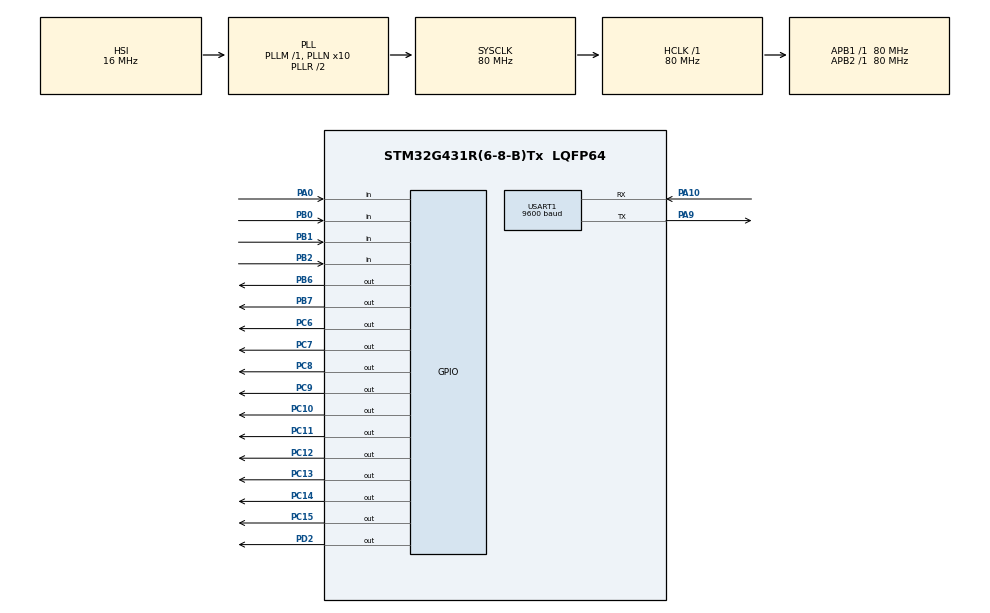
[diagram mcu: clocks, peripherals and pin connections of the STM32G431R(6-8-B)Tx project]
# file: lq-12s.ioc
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Mcu.Family=STM32G4
Mcu.Name=STM32G431R(6-8-B)Tx
Mcu.Package=LQFP64
NVIC.PriorityGroup=NVIC_PRIORITYGROUP_4
NVIC.RTC_Alarm_IRQn=true\:0\:0\:false\:false\:true\:true\:true\:true
NVIC.TIM6_DAC_IRQn=true\:4\:0\:true\:false\:true\:true\:true\:true
PA0.Signal=GPIO_Input
PA10.Mode=Asynchronous
PA10.Signal=USART1_RX
PA13.Mode=Serial_Wire
PA13.Signal=SYS_JTMS-SWDIO
PA14.Mode=Serial_Wire
PA14.Signal=SYS_JTCK-SWCLK
PA9.Mode=Asynchronous
PA9.Signal=USART1_TX
PB0.Signal=GPIO_Input
PB1.Signal=GPIO_Input
PB2.Signal=GPIO_Input
PB6.Signal=GPIO_Output
PB7.Signal=GPIO_Output
PC10.GPIO_ModeDefaultOutputPP=GPIO_MODE_OUTPUT_PP
PC10.GPIO_PuPd=GPIO_PULLUP
PC10.GPIO_Speed=GPIO_SPEED_FREQ_LOW
PC10.PinState=GPIO_PIN_SET
PC10.Signal=GPIO_Output
PC11.GPIO_ModeDefaultOutputPP=GPIO_MODE_OUTPUT_PP
PC11.GPIO_PuPd=GPIO_PULLUP
PC11.GPIO_Speed=GPIO_SPEED_FREQ_LOW
PC11.PinState=GPIO_PIN_SET
PC11.Signal=GPIO_Output
PC12.GPIO_ModeDefaultOutputPP=GPIO_MODE_OUTPUT_PP
PC12.GPIO_PuPd=GPIO_PULLUP
PC12.GPIO_Speed=GPIO_SPEED_FREQ_LOW
PC12.PinState=GPIO_PIN_SET
PC12.Signal=GPIO_Output
PC13.GPIO_ModeDefaultOutputPP=GPIO_MODE_OUTPUT_PP
PC13.GPIO_PuPd=GPIO_PULLUP
PC13.GPIO_Speed=GPIO_SPEED_FREQ_LOW
PC13.PinState=GPIO_PIN_SET
PC13.Signal=GPIO_Output
PC14-OSC32_IN.GPIO_ModeDefaultOutputPP=GPIO_MODE_OUTPUT_PP
PC14-OSC32_IN.GPIO_PuPd=GPIO_PULLUP
PC14-OSC32_IN.GPIO_Speed=GPIO_SPEED_FREQ_LOW
PC14-OSC32_IN.PinState=GPIO_PIN_SET
PC14-OSC32_IN.Signal=GPIO_Output
PC15-OSC32_OUT.GPIO_ModeDefaultOutputPP=GPIO_MODE_OUTPUT_PP
PC15-OSC32_OUT.GPIO_PuPd=GPIO_PULLUP
PC15-OSC32_OUT.GPIO_Speed=GPIO_SPEED_FREQ_LOW
PC15-OSC32_OUT.PinState=GPIO_PIN_SET
PC15-OSC32_OUT.Signal=GPIO_Output
PC6.Signal=GPIO_Output
PC7.Signal=GPIO_Output
PC8.GPIO_ModeDefaultOutputPP=GPIO_MODE_OUTPUT_PP
PC8.GPIO_PuPd=GPIO_PULLUP
PC8.GPIO_Speed=GPIO_SPEED_FREQ_LOW
PC8.PinState=GPIO_PIN_SET
PC8.Signal=GPIO_Output
PC9.GPIO_ModeDefaultOutputPP=GPIO_MODE_OUTPUT_PP
PC9.GPIO_PuPd=GPIO_PULLUP
PC9.GPIO_Speed=GPIO_SPEED_FREQ_LOW
PC9.PinState=GPIO_PIN_SET
PC9.Signal=GPIO_Output
PD2.GPIO_PuPd=GPIO_PULLDOWN
PD2.Signal=GPIO_Output
PF0-OSC_IN.Mode=HSE-External-Oscillator
PF0-OSC_IN.Signal=RCC_OSC_IN
PF1-OSC_OUT.Mode=HSE-External-Oscillator
PF1-OSC_OUT.Signal=RCC_OSC_OUT
ProjectManager.HeapSize=0x200
ProjectManager.StackSize=0x400
ProjectManager.TargetToolchain=MDK-ARM V5
RCC.ADC12Freq_Value=80000000
RCC.AHBFreq_Value=80000000
RCC.APB1Freq_Value=80000000
RCC.APB1TimFreq_Value=80000000
RCC.APB2Freq_Value=80000000
RCC.APB2TimFreq_Value=80000000
RCC.CortexFreq_Value=80000000
RCC.EXTERNAL_CLOCK_VALUE=12288000
RCC.HCLKFreq_Value=80000000
RCC.HSE_VALUE=8000000
RCC.HSI48_VALUE=48000000
RCC.HSI_VALUE=16000000
RCC.LSE_VALUE=32768
RCC.PLLN=10
RCC.SYSCLKFreq_VALUE=80000000
RCC.SYSCLKSource=RCC_SYSCLKSOURCE_PLLCLK
RCC.USBFreq_Value=80000000
RCC.VCOOutputFreq_Value=160000000
RTC.Alarm-Alarm\ A=RTC_ALARM_A
RTC.Hours=11
RTC.Hours_A-Alarm\ A=12
RTC.Minutes=59
RTC.Seconds=50
TIM6.AutoReloadPreload=TIM_AUTORELOAD_PRELOAD_ENABLE
TIM6.PeriodNoDither=1999
TIM6.Prescaler=799
USART1.BaudRate=9600
USART1.VirtualMode-Asynchronous=VM_ASYNC
VP_RTC_VS_RTC_Activate.Mode=RTC_Enabled
VP_RTC_VS_RTC_Alarm_A_Intern.Mode=Alarm A
VP_RTC_VS_RTC_Calendar.Mode=RTC_Calendar
VP_SYS_VS_DBSignals.Mode=DisableDeadBatterySignals
VP_TIM6_VS_ClockSourceINT.Mode=Enable_Timer
board=custom

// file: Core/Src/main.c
/* USER CODE BEGIN Header */
/**
  ******************************************************************************
  * @file           : main.c
  * @brief          : Main program body
  ******************************************************************************
  * @attention
  *
  * Copyright (c) 2023 STMicroelectronics.
  * All rights reserved.
  *
  * This software is licensed under terms that can be found in the LICENSE file
  * in the root directory of this software component.
  * If no LICENSE file comes with this software, it is provided AS-IS.
  *
  ******************************************************************************
  */
/* USER CODE END Header */
#include "main.h"
#include "rtc.h"
#include "tim.h"
#include "usart.h"
#include "gpio.h"

/* USER CODE BEGIN Includes */
#include <stdio.h>
#include <stdarg.h>
#include <stdlib.h>
#include <stdbool.h>
#include <string.h>
#include "lcd.h"
#include "i2c_hal.h"
/* USER CODE END Includes */

/* USER CODE BEGIN PTD */
typedef struct _BtnCtrl {
	uint64_t 	trace;
	bool		actif;
	void 		(*trig)(void);
	void 		(*trigl)(void);
} BtnCtrl;
/* USER CODE END PTD */

/* USER CODE BEGIN PD */
#define LED_MASK 0x07
#define KEY_LP_MASK	0x3FFFFFFFFFFFF
/* USER CODE END PD */

/* USER CODE BEGIN PM */
#ifndef macros

#define lds(x, s) \
	*(ledp + x - 1) = s

#define ldp() \
	HAL_GPIO_WritePin(GPIOC, led << 8, 0); \
	HAL_GPIO_WritePin(GPIOC, ~(led << 8), 1); \
	HAL_GPIO_WritePin(GPIOD, 0x0002, 1); \
	HAL_GPIO_WritePin(GPIOD, 0x0002, 0)

#define dspl(ln ,t) \
	LCD_DisplayStringLine(ln * 24, (uint8_t *)t)

#endif
/* USER CODE END PM */

/* USER CODE BEGIN PV */
#ifndef vars

uint8_t 	led 		= 0x00;
bool		*ledp		= (bool *)&led;
uint8_t		page		= 0;
BtnCtrl		btns[4]; // 1.28s trace max

#endif
/* USER CODE END PV */

void SystemClock_Config(void);
/* USER CODE BEGIN PFP */
#ifndef pfps

void eeWrite(uint8_t addr, void *data, uint8_t size);
void *eeRead(uint8_t addr, uint8_t size);
void render(void);
void dsplf(int ln, char *fmt, ...);
void dsplfc(int ln, uint16_t cb, uint16_t ct, char *fmt, ...);

#endif
/* USER CODE END PFP */

int main(void)
{
  /* USER CODE BEGIN 1 */

	for(register unsigned int i = 0; i < 4; i++) {
		btns[i].trace = 0xFFFFFFFFFFFFFFFF;
		btns[i].actif = false;
	}
	//bind functions...

  /* USER CODE END 1 */

  /* MCU Configuration--------------------------------------------------------*/

  /* Reset of all peripherals, Initializes the Flash interface and the Systick. */
  HAL_Init();

  /* Configure the system clock */
  SystemClock_Config();

  /* Initialize all configured peripherals */
  MX_GPIO_Init();
  MX_RTC_Init();
  MX_TIM6_Init();
  MX_USART1_UART_Init();

  /* Infinite loop */
  while (1)
  {

  }
}

void SystemClock_Config(void)
{
  RCC_OscInitTypeDef RCC_OscInitStruct = {0};
  RCC_ClkInitTypeDef RCC_ClkInitStruct = {0};

  /** Configure the main internal regulator output voltage
  */
  HAL_PWREx_ControlVoltageScaling(PWR_REGULATOR_VOLTAGE_SCALE1);

  /** Initializes the RCC Oscillators according to the specified parameters
  * in the RCC_OscInitTypeDef structure.
  */
  RCC_OscInitStruct.OscillatorType = RCC_OSCILLATORTYPE_HSI|RCC_OSCILLATORTYPE_LSI;
  RCC_OscInitStruct.HSIState = RCC_HSI_ON;
  RCC_OscInitStruct.HSICalibrationValue = RCC_HSICALIBRATION_DEFAULT;
  RCC_OscInitStruct.LSIState = RCC_LSI_ON;
  RCC_OscInitStruct.PLL.PLLState = RCC_PLL_ON;
  RCC_OscInitStruct.PLL.PLLSource = RCC_PLLSOURCE_HSI;
  RCC_OscInitStruct.PLL.PLLM = RCC_PLLM_DIV1;
  RCC_OscInitStruct.PLL.PLLN = 10;
  RCC_OscInitStruct.PLL.PLLP = RCC_PLLP_DIV2;
  RCC_OscInitStruct.PLL.PLLQ = RCC_PLLQ_DIV2;
  RCC_OscInitStruct.PLL.PLLR = RCC_PLLR_DIV2;
  if (HAL_RCC_OscConfig(&RCC_OscInitStruct) != HAL_OK)
  {
    Error_Handler();
  }

  /** Initializes the CPU, AHB and APB buses clocks
  */
  RCC_ClkInitStruct.ClockType = RCC_CLOCKTYPE_HCLK|RCC_CLOCKTYPE_SYSCLK
                              |RCC_CLOCKTYPE_PCLK1|RCC_CLOCKTYPE_PCLK2;
  RCC_ClkInitStruct.SYSCLKSource = RCC_SYSCLKSOURCE_PLLCLK;
  RCC_ClkInitStruct.AHBCLKDivider = RCC_SYSCLK_DIV1;
  RCC_ClkInitStruct.APB1CLKDivider = RCC_HCLK_DIV1;
  RCC_ClkInitStruct.APB2CLKDivider = RCC_HCLK_DIV1;

  if (HAL_RCC_ClockConfig(&RCC_ClkInitStruct, FLASH_LATENCY_2) != HAL_OK)
  {
    Error_Handler();
  }
}

/* USER CODE BEGIN 4 */

void HAL_RTC_AlarmAEventCallback(RTC_HandleTypeDef *hrtc) {
	UNUSED(hrtc);

}

void HAL_TIM_PeriodElapsedCallback(TIM_HandleTypeDef *htim) {
	if(htim->Instance == TIM6) { // 50Hz -> key input
		for(register unsigned int i = 0; i < 3; i++) {
			BtnCtrl btn = btns[i];
			btn.trace = (btn.trace << 1) | HAL_GPIO_ReadPin(GPIOB, 0x0001 << i);
			if(btn.trig && btn.actif && !~(btn.trace & 0x03)) {
				btns[i].actif = true;
				btn.trig();
				goto sync;
			}
			if(btn.trigl && !~(btn.trace & KEY_LP_MASK)) {
				btn.trigl();
				goto sync;
			}
			if(btn.actif && !(btn.trace & 0x0F)) btns[i].actif = false;
			sync:
			btns[i].trace = btn.trace;
		}
	}
}

void render() {
	LCD_Clear(Black);
	dspl(2, "    MAIN    \0\0\0\0  RTC_SETTING  \0 ALARM-SETTING  " + (page << 4));

}

void dsplf(int ln, char *fmt, ...) {
	va_list ap;
	va_start(ap, fmt);
	char *buf = (char *)malloc(32);
	vsprintf(buf, fmt, ap);
	dspl(ln, buf);
	free(buf);
}

void dsplfc(int ln, uint16_t cb, uint16_t ct, char *fmt, ...) {
	va_list ap;
	va_start(ap, fmt);
	char *buf = (char *)malloc(32);
	vsprintf(buf, fmt, ap);
	LCD_SetBackColor(cb);
	LCD_SetTextColor(ct);
	dspl(ln, buf);
	free(buf);
	LCD_SetBackColor(Black);
	LCD_SetTextColor(White);
}

/* USER CODE END 4 */

void Error_Handler(void)
{
  __disable_irq();
  while (1)
  {
  }
}
